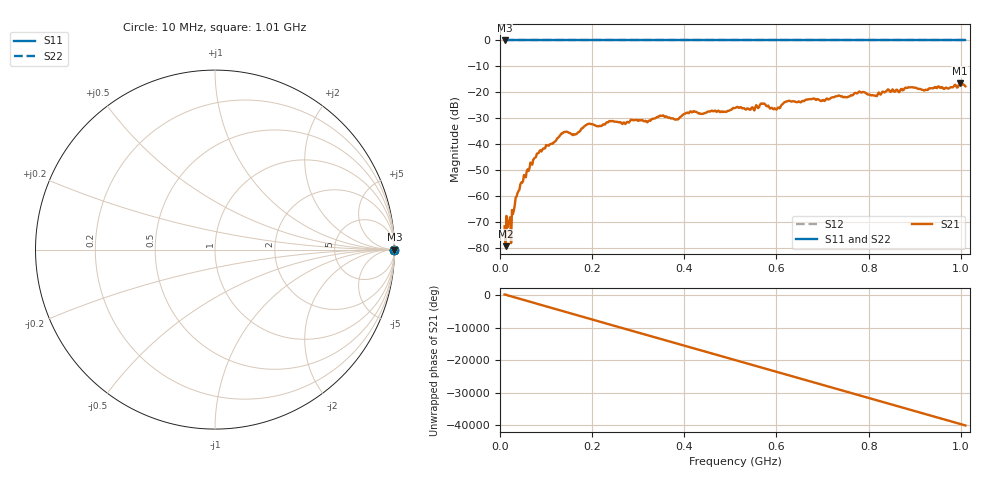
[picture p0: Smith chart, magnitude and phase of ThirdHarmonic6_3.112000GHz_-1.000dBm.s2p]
! 8/17/2025 9:12:46 AM
! C:\ANRITSUVNA\TEMP\TEMP.S2P
! CHANNEL.1
! TR.MEASUREMENT
! RAW.DATA
! RF.CORRECTION.OFF
! AVERAGING.OFF
! IF.BANDWIDTH: 5KHZ
! SWEEPTYPE:  FREQ.SWEEP(Linear)
! Reference Plane Port Info
! PORT:  PORT1  PORT2
! DISTANCE:  0  m  0  m
! TIME:  0  s  0  s
! PHASE.OFFSET:  0  deg.  0  deg.
! LOSS:  0  dB  0  dB
! REF.LOSS:  0  dB  0  dB
! REF.FREQ:  0  Hz  0  Hz
! Power Info
! POWER:  -20  dBm  -20  dBm
! EFF.POWER:  -20  dBm  -20  dBm
! SOURCE.ATTEN:  0  dB  0  dB
! TEST.ATTEN:  0  dB  0  dB
# GHZ S RI R 50.0
! FREQ.GHZ  S11RE  S11IM  S21RE  S21IM  S12RE  S12IM  S22RE  S22IM
!; PortSelection: Port_12
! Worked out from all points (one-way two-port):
!   501 points, 10 MHz to 1.01 GHz, reference 50 ohm
!   highest |S21| = -16.56 dB at 998 MHz (marker M1); lowest = -79.2 dB at 12 MHz (marker M2)
!   lowest |S11| = 0.0 dB at 10 MHz (marker M3)
!   |S11| at or under -10 dB: nowhere
!   |S22| runs from 0.0 to 0.0 dB; largest |S21 - S12| = 1.1
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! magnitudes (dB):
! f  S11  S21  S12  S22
! 10 MHz  0.0  -71.5  0.0  0.0
! 12 MHz  0.0  -79.2  0.0  0.0
! 20 MHz  0.0  -69.5  0.0  0.0
! 28 MHz  0.0  -66.8  0.0  0.0
! 30 MHz  0.0  -65.5  0.0  0.0
! 36 MHz  0.0  -60.0  0.0  0.0
! 48 MHz  0.0  -54.8  0.0  0.0
! 84 MHz  0.0  -43.3  0.0  0.0
! 136 MHz  0.0  -35.7  0.0  0.0
! 162 MHz  0.0  -36.2  0.0  0.0
! 178 MHz  0.0  -33.8  0.0  0.0
! 344 MHz  0.0  -29.4  0.0  0.0
! 382 MHz  0.0  -30.4  0.0  0.0
! 416 MHz  0.0  -27.7  0.0  0.0
! 510 MHz  0.0  -26.0  0.0  0.0
! 570 MHz  0.0  -24.4  0.0  0.0
! 596 MHz  0.0  -26.1  0.0  0.0
! 624 MHz  0.0  -23.4  0.0  0.0
! 678 MHz  0.0  -22.5  0.0  0.0
! 844 MHz  0.0  -19.0  0.0  0.0
! 998 MHz  0.0  -16.6  0.0  0.0
! 1.01 GHz  0.0  -17.6  0.0  0.0
